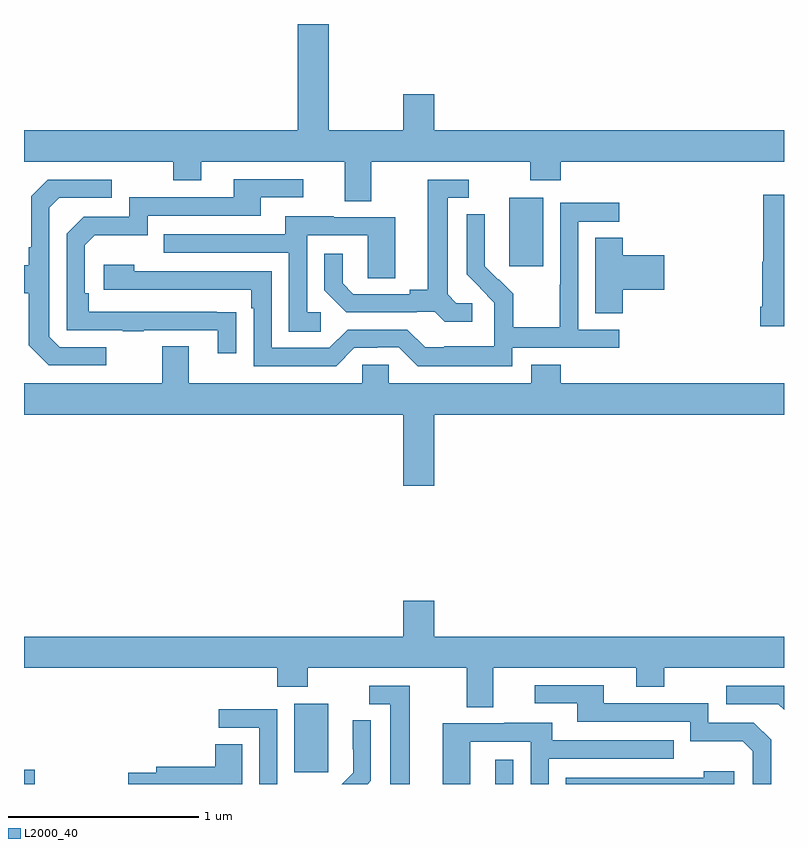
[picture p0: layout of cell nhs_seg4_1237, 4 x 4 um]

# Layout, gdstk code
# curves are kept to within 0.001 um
import gdstk
lib = gdstk.Library(unit=1e-6, precision=1e-09)
def R(c, l, rs):  # rectangles x0, y0, x1, y1
    for r in rs: c.add(gdstk.rectangle(r[:2], r[2:], *l))
def P(c, l, *ps):  # polygons
    for p in ps: c.add(gdstk.Polygon(p, *l))
L2000_40 = (2000, 40)

nhs_seg4_1237 = lib.new_cell('nhs_seg4_1237')
R(nhs_seg4_1237, L2000_40, [(175,770.9,175.056,770.976), (177.479,770.9,177.576,771.028), (176.423,770.961,176.602,771.322), (177.554,773.625,177.733,773.986)])
P(nhs_seg4_1237, L2000_40, [(177.664,774.077),(177.824,774.077),(177.824,774.176),(179,774.176),(179,774.34),(177.16,774.34),(177.16,774.529),(176.996,774.529),(176.996,774.34),(176.605,774.34),(176.605,774.9),(176.441,774.9),(176.441,774.34),(175,774.34),(175,774.176),(175.786,774.176),(175.786,774.077),(175.933,774.077),(175.933,774.176),(176.687,774.176),(176.687,773.968),(176.827,773.968),(176.827,774.176),(177.664,774.176)],
  [(176.117,773.384),(175.34,773.385),(175.34,773.482),(175.32,773.482),(175.32,773.736),(175.373,773.789),(175.65,773.789),(175.65,773.892),(176.245,773.892),(176.245,773.988),(176.47,773.988),(176.47,774.084),(176.105,774.084),(176.105,773.988),(175.554,773.988),(175.554,773.886),(175.314,773.886),(175.224,773.796),(175.224,773.289),(175.519,773.289),(175.519,773.284),(175.631,773.284),(175.631,773.289),(176.021,773.289),(176.021,773.166),(176.117,773.166)],
  [(175.432,773.199),(175.188,773.199),(175.134,773.253),(175.134,773.934),(175.185,773.985),(175.462,773.985),(175.462,774.081),(175.125,774.081),(175.038,773.994),(175.038,773.725),(175.026,773.725),(175.026,773.629),(175,773.629),(175,773.482),(175.026,773.482),(175.026,773.209),(175.131,773.103),(175.432,773.103)],
  [(177.358,773.43),(177.276,773.43),(177.229,773.477),(177.229,773.985),(177.34,773.985),(177.34,774.081),(177.125,774.081),(177.125,773.501),(177.029,773.501),(177.029,773.478),(176.734,773.478),(176.677,773.535),(176.677,773.692),(176.58,773.692),(176.58,773.498),(176.696,773.382),(177.068,773.382),(177.068,773.385),(177.162,773.385),(177.214,773.333),(177.358,773.333)],
  [(179,774.001),(178.892,774.001),(178.892,773.649),(178.886,773.649),(178.886,773.413),(178.874,773.413),(178.874,773.309),(179,773.309)],
  [(177.57,773.196),(178.132,773.196),(178.132,773.292),(177.918,773.292),(177.918,773.859),(178.132,773.859),(178.132,773.958),(177.822,773.958),(177.822,773.528),(177.82,773.528),(177.82,773.305),(177.575,773.305),(177.575,773.479),(177.498,773.556),(177.495,773.553),(177.425,773.624),(177.426,773.9),(177.33,773.9),(177.33,773.582),(177.476,773.434),(177.476,773.337),(177.474,773.337),(177.474,773.203),(177.211,773.203),(177.211,773.199),(177.111,773.199),(177.018,773.292),(176.703,773.292),(176.607,773.196),(176.304,773.196),(176.304,773.598),(175.58,773.598),(175.58,773.632),(175.419,773.632),(175.419,773.502),(176.195,773.502),(176.195,773.405),(176.208,773.405),(176.208,773.1),(176.643,773.1),(176.739,773.196),(176.858,773.196),(176.858,773.199),(176.973,773.199),(177.073,773.099),(177.57,773.099)],
  [(176.563,773.382),(176.49,773.382),(176.49,773.787),(176.808,773.787),(176.808,773.563),(176.953,773.563),(176.953,773.883),(176.629,773.883),(176.629,773.887),(176.375,773.887),(176.375,773.793),(175.735,773.793),(175.735,773.697),(176.394,773.697),(176.394,773.281),(176.563,773.281)],
  [(178.151,773.501),(178.369,773.501),(178.369,773.684),(178.151,773.684),(178.151,773.774),(178.007,773.774),(178.007,773.377),(178.151,773.377)],
  [(177.16,772.844),(179,772.844),(179,773.008),(177.824,773.008),(177.824,773.107),(177.671,773.107),(177.671,773.008),(176.919,773.008),(176.919,773.106),(176.781,773.106),(176.781,773.008),(175.867,773.008),(175.867,773.203),(175.727,773.203),(175.727,773.008),(175,773.008),(175,772.844),(176.996,772.844),(176.996,772.47),(177.16,772.47)],
  [(177.469,771.512),(178.223,771.512),(178.223,771.413),(178.371,771.413),(178.371,771.512),(179,771.512),(179,771.676),(177.16,771.676),(177.16,771.865),(176.996,771.865),(176.996,771.676),(175,771.676),(175,771.512),(176.333,771.512),(176.333,771.413),(176.493,771.413),(176.493,771.512),(177.329,771.512),(177.329,771.304),(177.469,771.304)],
  [(178.932,771.132),(178.842,771.222),(178.602,771.222),(178.602,771.324),(178.051,771.324),(178.051,771.42),(177.687,771.42),(177.687,771.324),(177.911,771.324),(177.911,771.228),(178.506,771.228),(178.506,771.125),(178.783,771.125),(178.836,771.072),(178.836,770.9),(178.932,770.9)],
  [(177.031,771.417),(176.817,771.417),(176.817,771.321),(176.927,771.321),(176.927,770.9),(177.031,770.9)],
  [(179,771.417),(178.695,771.417),(178.695,771.321),(178.971,771.321),(179,771.292)],
  [(176.334,771.294),(176.025,771.294),(176.025,771.195),(176.238,771.195),(176.238,770.9),(176.334,770.9)],
  [(176.826,770.918),(176.826,771.236),(176.73,771.236),(176.73,771.082),(176.732,771.082),(176.732,770.96),(176.672,770.9),(176.808,770.9)],
  [(177.348,771.123),(177.666,771.123),(177.666,770.9),(177.762,770.9),(177.762,771.033),(178.421,771.033),(178.421,771.129),(177.781,771.129),(177.781,771.223),(177.527,771.223),(177.527,771.219),(177.203,771.219),(177.203,770.9),(177.348,770.9)],
  [(176.149,771.11),(176.006,771.11),(176.006,770.99),(175.697,770.99),(175.697,770.96),(175.548,770.96),(175.548,770.9),(176.149,770.9)],
  [(178.738,770.968),(178.577,770.968),(178.577,770.934),(177.852,770.934),(177.852,770.9),(178.738,770.9)])

lib.write_gds('nhs_seg4_1237.gds')
